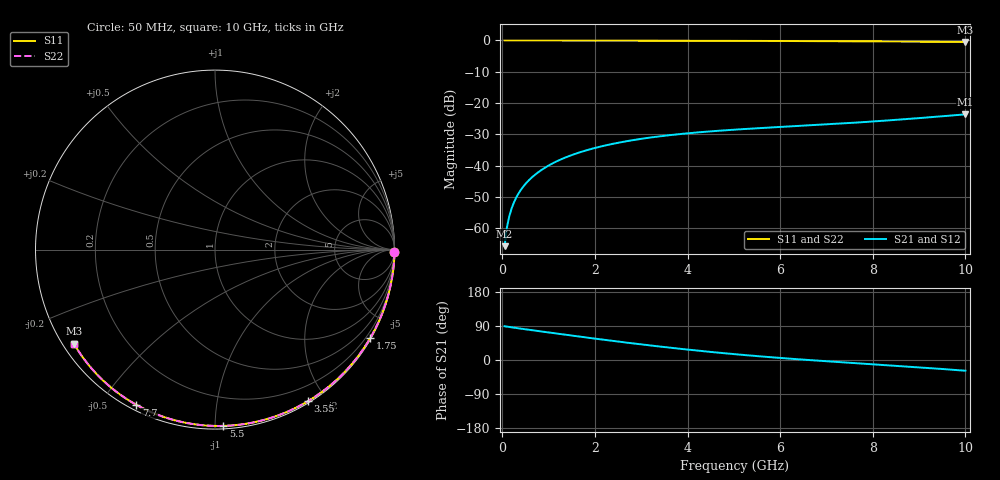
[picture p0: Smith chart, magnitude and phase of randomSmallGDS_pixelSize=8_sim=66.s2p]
! freq	dB(S11)	phase(S11)	dB(S12)	phase(S12)
!  dB(S21)	phase(S21)	dB(S22)	phase(S22)
!S-par simulation data
#  GHz  S  DB  R 50
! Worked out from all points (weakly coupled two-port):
!   200 points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, 50 MHz to 10 GHz, reference 50 ohm
!   highest |S21| = -23.63 dB at 10 GHz (marker M1); lowest = -65.7 dB at 50 MHz (marker M2)
!   lowest |S11| = -0.5 dB at 10 GHz (marker M3), VSWR 35.15, Z = 1.55 - j15.1 ohm
!   |S11| at or under -10 dB: nowhere
!   |S22| runs from -0.5 to 0.0 dB; largest |S21 - S12| = 0
!   S11 on the Smith chart (normalised r, x): 50 MHz: open; 1.75 GHz: 0.03, -3.78; 3.55 GHz: 0.02, -1.78; 5.5 GHz: 0.02, -1.05; 7.7 GHz: 0.02, -0.61; 10 GHz: 0.03, -0.30
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0.05  -0.00 -0.9  -65.74 89.0  -65.74 89.0  -0.00 -0.9
0.1  -0.00 -1.7  -59.73 88.1  -59.73 88.1  -0.00 -1.7
0.15  -0.00 -2.6  -56.22 87.1  -56.22 87.1  -0.00 -2.6
0.2  -0.00 -3.5  -53.73 86.2  -53.73 86.2  -0.00 -3.5
0.25  -0.00 -4.3  -51.81 85.3  -51.81 85.3  -0.00 -4.3
0.35  -0.00 -6.0  -48.92 83.6  -48.92 83.6  -0.00 -6.0
0.5  -0.01 -8.6  -45.86 81.0  -45.86 81.0  -0.01 -8.6
0.7  -0.01 -12.0  -42.99 77.7  -42.99 77.7  -0.01 -12.0
1  -0.02 -17.1  -39.98 72.7  -39.98 72.7  -0.02 -17.1
1.35  -0.03 -23.0  -37.49 66.9  -37.49 66.9  -0.03 -23.0
1.75  -0.04 -29.7  -35.40 60.4  -35.40 60.4  -0.04 -29.7
2.5  -0.06 -41.9  -32.70 48.7  -32.70 48.7  -0.06 -41.9
3.4  -0.08 -56.2  -30.64 35.5  -30.64 35.5  -0.08 -56.2
3.55  -0.08 -58.5  -30.37 33.5  -30.37 33.5  -0.08 -58.5
4.3  -0.10 -69.9  -29.29 23.7  -29.29 23.7  -0.10 -69.9
5.05  -0.13 -80.9  -28.47 15.0  -28.47 15.0  -0.13 -80.9
5.5  -0.15 -87.3  -28.07 10.3  -28.07 10.3  -0.15 -87.3
6.7  -0.20 -103.8  -27.08 -0.8  -27.08 -0.8  -0.20 -103.8
7.7  -0.27 -116.9  -26.20 -8.8  -26.20 -8.8  -0.27 -117.0
8.35  -0.32 -125.3  -25.54 -13.9  -25.54 -13.9  -0.32 -125.3
9.2  -0.40 -136.1  -24.58 -21.1  -24.58 -21.1  -0.40 -136.1
10  -0.49 -146.3  -23.63 -28.3  -23.63 -28.3  -0.49 -146.3
